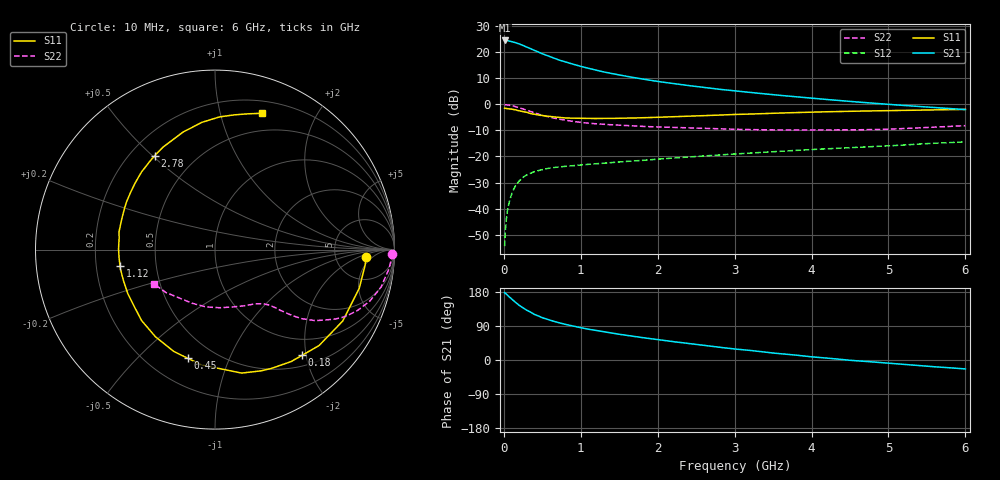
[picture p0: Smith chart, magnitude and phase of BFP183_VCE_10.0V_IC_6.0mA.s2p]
! Infineon Technologies  Discrete & RF Semiconductors
! BFP183
! VCE = 10.0V,  IC =  6.0 mA
! Common Emitter S-Parameters:  Jan 2016
# GHz  S  MA  R  50
!  f  S11  S21  S12  S22
! GHz  MAG  ANG  MAG  ANG  MAG  ANG  MAG  ANG
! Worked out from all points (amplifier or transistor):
!   210 points, 10 MHz to 6 GHz, reference 50 ohm
!   highest |S21| = 24.5 dB at 10 MHz (marker M1)
!   |S21| within 3 dB of that: start of sweep to 335 MHz
!   unconditionally stable (mu >= 1): 1.587 GHz to 5.881 GHz
!   at 185 MHz: K = 0.18, MSG = 26.7 dB, |S12| = -29.9 dB
!   at 1.52 GHz: K = 0.97, MSG = 16.6 dB, |S12| = -22.0 dB
!   at 6 GHz: K = 0.98, MSG = 6.2 dB, |S12| = -14.4 dB
!   S11 on the Smith chart (normalised r, x): 10 MHz: 11, -3; 180 MHz: 0.69, -1.93; 450 MHz: 0.36, -0.71; 1.12 GHz: 0.30, -0.08; 2.78 GHz: 0.30, +0.51; 6 GHz: 0.32, +1.35
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0.01  0.8432 -2.9  16.86 177.7  0.0019 81.7  0.9867 -1.3
0.05  0.832 -15.1  16.73 170.3  0.0097 84.2  0.9751 -6.4
0.1  0.8153 -29.2  16.06 161.1  0.0188 73.4  0.9485 -12.7
0.15  0.7886 -42.7  15.32 152.3  0.0272 67.6  0.9099 -18.3
0.18  0.7632 -50.4  14.82 147.5  0.0312 64.3  0.8817 -21.1
0.22  0.7411 -60.2  14.1 141.5  0.0363 60.4  0.8442 -24.7
0.3  0.7039 -77.8  12.58 131.2  0.0445 52.9  0.7685 -30.3
0.4  0.6469 -96.7  10.89 120.1  0.0514 46.8  0.6851 -35.3
0.45  0.624 -104.1  10.1 116.2  0.0537 44.0  0.6504 -36.9
0.5  0.6122 -112.0  9.369 111.6  0.0561 41.5  0.6162 -38.6
0.6  0.588 -124.4  8.229 104.9  0.0601 38.6  0.5658 -40.5
0.7  0.5688 -136.0  7.238 99.1  0.0626 36.8  0.5267 -41.8
0.8  0.5499 -145.2  6.514 93.9  0.0648 35.0  0.4965 -42.9
1.02  0.5377 -163.1  5.264 84.4  0.0689 33.7  0.4478 -44.8
1.12  0.5372 -170.2  4.843 80.5  0.0712 33.3  0.4332 -45.6
1.5  0.5439 169.4  3.67 67.9  0.0786 33.1  0.3981 -49.2
2.02  0.5664 147.1  2.731 53.3  0.0892 33.0  0.3684 -55.9
2.78  0.6218 122.7  1.967 34.1  0.1066 32.2  0.3392 -69.7
3.1  0.6456 114.5  1.758 27.2  0.1139 31.5  0.33 -76.4
4.1  0.717 94.3  1.278 6.8  0.1382 27.5  0.3219 -101.8
5.1  0.7623 80.6  0.977 -10.0  0.1628 23.2  0.3387 -128.7
6  0.8032 71.0  0.794 -23.6  0.1906 16.7  0.3904 -150.8
